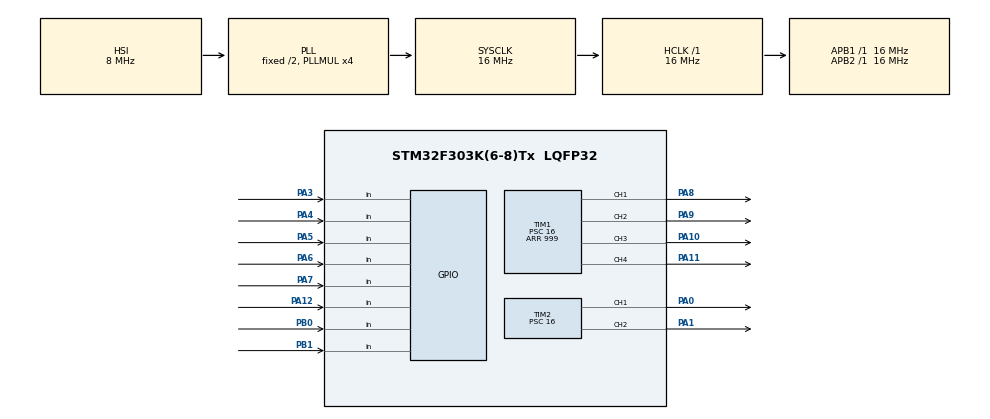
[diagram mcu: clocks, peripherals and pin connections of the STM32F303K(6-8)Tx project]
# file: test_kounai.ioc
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Mcu.Family=STM32F3
Mcu.Name=STM32F303K(6-8)Tx
Mcu.Package=LQFP32
NVIC.PriorityGroup=NVIC_PRIORITYGROUP_4
PA0.Signal=S_TIM2_CH1_ETR
PA1.Signal=S_TIM2_CH2
PA10.Signal=S_TIM1_CH3
PA11.Signal=S_TIM1_CH4
PA12.Signal=GPIO_Input
PA13.Mode=Serial_Wire
PA13.Signal=SYS_JTMS-SWDIO
PA14.Mode=Serial_Wire
PA14.Signal=SYS_JTCK-SWCLK
PA3.Signal=GPIO_Input
PA4.Signal=GPIO_Input
PA5.Signal=GPIO_Input
PA6.Signal=GPIO_Input
PA7.Signal=GPIO_Input
PA8.Signal=S_TIM1_CH1
PA9.Signal=S_TIM1_CH2
PB0.Signal=GPIO_Input
PB1.Signal=GPIO_Input
PF0\ /\ OSC_IN.Mode=HSE-External-Clock-Source
PF0\ /\ OSC_IN.Signal=RCC_OSC_IN
ProjectManager.HeapSize=0x200
ProjectManager.StackSize=0x400
ProjectManager.TargetToolchain=STM32CubeIDE
RCC.AHBFreq_Value=16000000
RCC.APB1Freq_Value=16000000
RCC.APB1TimFreq_Value=16000000
RCC.APB2Freq_Value=16000000
RCC.APB2TimFreq_Value=16000000
RCC.CortexFreq_Value=16000000
RCC.HCLKFreq_Value=16000000
RCC.HSE_VALUE=8000000
RCC.HSI_VALUE=8000000
RCC.PLLMUL=RCC_PLL_MUL4
RCC.SYSCLKFreq_VALUE=16000000
RCC.SYSCLKSourceVirtual=RCC_SYSCLKSOURCE_PLLCLK
SH.S_TIM1_CH1.0=TIM1_CH1,PWM Generation1 CH1
SH.S_TIM1_CH2.0=TIM1_CH2,PWM Generation2 CH2
SH.S_TIM1_CH3.0=TIM1_CH3,PWM Generation3 CH3
SH.S_TIM1_CH4.0=TIM1_CH4,PWM Generation4 CH4
SH.S_TIM2_CH1_ETR.0=TIM2_CH1,PWM Generation1 CH1
SH.S_TIM2_CH2.0=TIM2_CH2,PWM Generation2 CH2
TIM1.Channel-PWM\ Generation1\ CH1=TIM_CHANNEL_1
TIM1.Channel-PWM\ Generation2\ CH2=TIM_CHANNEL_2
TIM1.Channel-PWM\ Generation3\ CH3=TIM_CHANNEL_3
TIM1.Channel-PWM\ Generation4\ CH4=TIM_CHANNEL_4
TIM1.Period=999
TIM1.Prescaler=16
TIM2.Channel-PWM\ Generation1\ CH1=TIM_CHANNEL_1
TIM2.Channel-PWM\ Generation2\ CH2=TIM_CHANNEL_2
TIM2.Period=999
TIM2.Prescaler=16
VP_TIM1_VS_ClockSourceINT.Mode=Internal
VP_TIM1_VS_NoETR.Mode=ETR_as_clearing_source_through_ADC_remap_TIM1
VP_TIM2_VS_ClockSourceINT.Mode=Internal
board=custom

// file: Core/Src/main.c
/* USER CODE BEGIN Header */
/**
  ******************************************************************************
  * @file           : main.c
  * @brief          : Main program body
  ******************************************************************************
  * @attention
  *
  * <h2><center>&copy; Copyright (c) 2020 STMicroelectronics.
  * All rights reserved.</center></h2>
  *
  * This software component is licensed by ST under BSD 3-Clause license,
  * the "License"; You may not use this file except in compliance with the
  * License. You may obtain a copy of the License at:
  *                        opensource.org/licenses/BSD-3-Clause
  *
  ******************************************************************************
  */
/* USER CODE END Header */

#include "main.h"
#include "stdio.h"

TIM_HandleTypeDef htim1;
TIM_HandleTypeDef htim2;
TIM_MasterConfigTypeDef sMasterConfig = {0};
TIM_OC_InitTypeDef sConfigOC = {0};

void SystemClock_Config(void);
static void MX_GPIO_Init(void);
static void MX_TIM1_Init(void);
static void MX_TIM2_Init(void);

/* USER CODE BEGIN 0 */
int SW1()
{
return 	HAL_GPIO_ReadPin(GPIOA,GPIO_PIN_6);
}

int SW2()
{
return 	HAL_GPIO_ReadPin(GPIOA,GPIO_PIN_5);
}

int SW3()
{
return 	HAL_GPIO_ReadPin(GPIOA,GPIO_PIN_3);
}

int SW4()
{
return 	HAL_GPIO_ReadPin(GPIOA,GPIO_PIN_4);
}

int SW5()
{
return 	HAL_GPIO_ReadPin(GPIOA,GPIO_PIN_7);
}

int SW6()
{
return 	HAL_GPIO_ReadPin(GPIOB,GPIO_PIN_0);
}

int SW7()
{
return 	HAL_GPIO_ReadPin(GPIOA,GPIO_PIN_12);
}

int SW8()
{
return 	HAL_GPIO_ReadPin(GPIOB,GPIO_PIN_1);
}

void motor1(int dire,int duty)//右モーター
{
	if(dire==0){
		sConfigOC.Pulse = duty;
		 if (HAL_TIM_PWM_ConfigChannel(&htim1, &sConfigOC, TIM_CHANNEL_1) != HAL_OK)
		 {
		 Error_Handler();
		 }
		if (HAL_TIM_PWM_Start(&htim1, TIM_CHANNEL_1) != HAL_OK)
				   					{
				   						Error_Handler();
				   					 }

			}

	else if (dire==1){
		sConfigOC.Pulse = duty;
		 if (HAL_TIM_PWM_ConfigChannel(&htim1, &sConfigOC, TIM_CHANNEL_2) != HAL_OK)
		 {
		 Error_Handler();
		 }
			   		if (HAL_TIM_PWM_Start(&htim1, TIM_CHANNEL_2) != HAL_OK)
			   			   			{
			   							Error_Handler();
			   			   			 }
					}
	else if(dire==2)
			{
		sConfigOC.Pulse = 0;
		 if (HAL_TIM_PWM_ConfigChannel(&htim1, &sConfigOC, TIM_CHANNEL_1) != HAL_OK)
		 {
		 Error_Handler();
		 }
		 if (HAL_TIM_PWM_ConfigChannel(&htim1, &sConfigOC, TIM_CHANNEL_1) != HAL_OK)
		 {
		 Error_Handler();
		 }
			}

}
void motor2(int dire,int duty)//右モーター
{
	if(dire==0){
		sConfigOC.Pulse = duty;
		 if (HAL_TIM_PWM_ConfigChannel(&htim2, &sConfigOC, TIM_CHANNEL_1) != HAL_OK)
		 {
		 Error_Handler();
		 }
		if (HAL_TIM_PWM_Start(&htim1, TIM_CHANNEL_1) != HAL_OK)
				   					{
				   						Error_Handler();
				   					 }

			}

	else if (dire==1){
		sConfigOC.Pulse = duty;
		 if (HAL_TIM_PWM_ConfigChannel(&htim2, &sConfigOC, TIM_CHANNEL_2) != HAL_OK)
		 {
		 Error_Handler();
		 }
			   		if (HAL_TIM_PWM_Start(&htim1, TIM_CHANNEL_2) != HAL_OK)
			   			   			{
			   							Error_Handler();
			   			   			 }
					}
	else if(dire==2)
			{
		sConfigOC.Pulse = 0;
		 if (HAL_TIM_PWM_ConfigChannel(&htim2, &sConfigOC, TIM_CHANNEL_1) != HAL_OK)
		 {
		 Error_Handler();
		 }
		 if (HAL_TIM_PWM_ConfigChannel(&htim2, &sConfigOC, TIM_CHANNEL_1) != HAL_OK)
		 {
		 Error_Handler();
		 }
			}

}
void motor3(int dire,int duty)//右モーター
{
	sConfigOC.Pulse = duty;
	if(dire==0){
		 if (HAL_TIM_PWM_ConfigChannel(&htim1, &sConfigOC, TIM_CHANNEL_3) != HAL_OK)
		 {
		 Error_Handler();
		 }
		if (HAL_TIM_PWM_Start(&htim1, TIM_CHANNEL_3) != HAL_OK)
				   					{
				   						Error_Handler();
				   					 }

			}

	else if (dire==1){
		sConfigOC.Pulse = duty;
		 if (HAL_TIM_PWM_ConfigChannel(&htim1, &sConfigOC, TIM_CHANNEL_4) != HAL_OK)
		 {
		 Error_Handler();
		 }
			   		if (HAL_TIM_PWM_Start(&htim1, TIM_CHANNEL_4) != HAL_OK)
			   			   			{
			   							Error_Handler();
			   			   			 }
					}
	else if(dire==2)
			{
		sConfigOC.Pulse = 0;
		 if (HAL_TIM_PWM_ConfigChannel(&htim1, &sConfigOC, TIM_CHANNEL_3) != HAL_OK)
		 {
		 Error_Handler();
		 }
		 if (HAL_TIM_PWM_ConfigChannel(&htim1, &sConfigOC, TIM_CHANNEL_4) != HAL_OK)
		 {
		 Error_Handler();
		 }
			}

}
/* USER CODE END 0 */

int main(void)
{

  /* MCU Configuration--------------------------------------------------------*/

  /* Reset of all peripherals, Initializes the Flash interface and the Systick. */
  HAL_Init();

  /* Configure the system clock */
  SystemClock_Config();

  /* Initialize all configured peripherals */
  MX_GPIO_Init();
  MX_TIM1_Init();
  MX_TIM2_Init();
int A=0;
  /* Infinite loop */
  /* USER CODE BEGIN WHILE */
  while (1)
  {
	/*  sConfigOC.Pulse = 100;
	 if (HAL_TIM_PWM_ConfigChannel(&htim2, &sConfigOC, TIM_CHANNEL_1) != HAL_OK)
	 {
	 Error_Handler();
	 }
	 if (HAL_TIM_PWM_Start(&htim2, TIM_CHANNEL_1) != HAL_OK)
	 {
	  Error_Handler();
	 }
	 HAL_Delay(1000);

	sConfigOC.Pulse = 999;
	if (HAL_TIM_PWM_ConfigChannel(&htim2, &sConfigOC, TIM_CHANNEL_1) != HAL_OK)
	 {
		Error_Handler();
	}
	if (HAL_TIM_PWM_Start(&htim2, TIM_CHANNEL_1) != HAL_OK)
	{
	 Error_Handler();
	}
	 HAL_Delay(1000);
*/
	 //motor1の挙動 ???��?��??��?��?右

	  A=SW1();

	  switch(A){

	  case 1:
 		  printf("sw1_ok \n\r");
 		  motor1(1,999);
	 	  motor2(1,999);
	 	  motor3(1,999);
	 	  A=3;
	 	  break;

	  case 0:
		  printf("no_motor \n\r");
	 	  motor1(2,0);
	 	  motor2(2,0);
	 	  motor3(2,0);
	 	  A=3;
		  break;
	  }

	 	  	 /* else
	 	  	  {
	 	  		  motor1(2,0);
	 	  	  }
	 	  	  */
/*
	 	  	//motor3挙動 左
	 	  	   if(SW8()==0)
	 	  	  {

	 	  		  motor3(1,300);
	 	  	  }

	 	  	   else if(SW6()==0)
	 	  	 	  {
	 	  	 		  motor3(0,300);
	 	  	 	  }
	 	  	   else{
	 	  		   motor3(2,0);
	 	  	   }

	 	  	//motor2挙動 a-m
	 	  	   if(SW1()==0)
	 	  	  {
	 	  		motor2(1,150);
	 	  	  }

	 	  	   else if(SW7()==0)
	 	  	  {
	 	  		  motor2(0,150);
	 	  	  }
	 	  	   else{
	 	  		   motor2(2,0);
	 	  	   }
*/
	 	  HAL_Delay(10);

	 	    }

    /* USER CODE END WHILE */

}

void SystemClock_Config(void)
{
  RCC_OscInitTypeDef RCC_OscInitStruct = {0};
  RCC_ClkInitTypeDef RCC_ClkInitStruct = {0};
  RCC_PeriphCLKInitTypeDef PeriphClkInit = {0};

  /** Initializes the CPU, AHB and APB busses clocks
  */
  RCC_OscInitStruct.OscillatorType = RCC_OSCILLATORTYPE_HSI;
  RCC_OscInitStruct.HSIState = RCC_HSI_ON;
  RCC_OscInitStruct.HSICalibrationValue = RCC_HSICALIBRATION_DEFAULT;
  RCC_OscInitStruct.PLL.PLLState = RCC_PLL_ON;
  RCC_OscInitStruct.PLL.PLLSource = RCC_PLLSOURCE_HSI;
  RCC_OscInitStruct.PLL.PLLMUL = RCC_PLL_MUL4;
  if (HAL_RCC_OscConfig(&RCC_OscInitStruct) != HAL_OK)
  {
    Error_Handler();
  }
  /** Initializes the CPU, AHB and APB busses clocks
  */
  RCC_ClkInitStruct.ClockType = RCC_CLOCKTYPE_HCLK|RCC_CLOCKTYPE_SYSCLK
                              |RCC_CLOCKTYPE_PCLK1|RCC_CLOCKTYPE_PCLK2;
  RCC_ClkInitStruct.SYSCLKSource = RCC_SYSCLKSOURCE_PLLCLK;
  RCC_ClkInitStruct.AHBCLKDivider = RCC_SYSCLK_DIV1;
  RCC_ClkInitStruct.APB1CLKDivider = RCC_HCLK_DIV1;
  RCC_ClkInitStruct.APB2CLKDivider = RCC_HCLK_DIV1;

  if (HAL_RCC_ClockConfig(&RCC_ClkInitStruct, FLASH_LATENCY_0) != HAL_OK)
  {
    Error_Handler();
  }
  PeriphClkInit.PeriphClockSelection = RCC_PERIPHCLK_TIM1;
  PeriphClkInit.Tim1ClockSelection = RCC_TIM1CLK_HCLK;
  if (HAL_RCCEx_PeriphCLKConfig(&PeriphClkInit) != HAL_OK)
  {
    Error_Handler();
  }
}

static void MX_TIM1_Init(void)
{

  TIM_ClockConfigTypeDef sClockSourceConfig = {0};

  TIM_BreakDeadTimeConfigTypeDef sBreakDeadTimeConfig = {0};

  htim1.Instance = TIM1;
  htim1.Init.Prescaler = 16;
  htim1.Init.CounterMode = TIM_COUNTERMODE_UP;
  htim1.Init.Period = 999;
  htim1.Init.ClockDivision = TIM_CLOCKDIVISION_DIV1;
  htim1.Init.RepetitionCounter = 0;
  htim1.Init.AutoReloadPreload = TIM_AUTORELOAD_PRELOAD_DISABLE;
  if (HAL_TIM_Base_Init(&htim1) != HAL_OK)
  {
    Error_Handler();
  }
  sClockSourceConfig.ClockSource = TIM_CLOCKSOURCE_INTERNAL;
  if (HAL_TIM_ConfigClockSource(&htim1, &sClockSourceConfig) != HAL_OK)
  {
    Error_Handler();
  }
  if (HAL_TIM_PWM_Init(&htim1) != HAL_OK)
  {
    Error_Handler();
  }
  sMasterConfig.MasterOutputTrigger = TIM_TRGO_RESET;
  sMasterConfig.MasterOutputTrigger2 = TIM_TRGO2_RESET;
  sMasterConfig.MasterSlaveMode = TIM_MASTERSLAVEMODE_DISABLE;
  if (HAL_TIMEx_MasterConfigSynchronization(&htim1, &sMasterConfig) != HAL_OK)
  {
    Error_Handler();
  }
  sConfigOC.OCMode = TIM_OCMODE_PWM1;
  sConfigOC.Pulse = 0;
  sConfigOC.OCPolarity = TIM_OCPOLARITY_HIGH;
  sConfigOC.OCNPolarity = TIM_OCNPOLARITY_HIGH;
  sConfigOC.OCFastMode = TIM_OCFAST_DISABLE;
  sConfigOC.OCIdleState = TIM_OCIDLESTATE_RESET;
  sConfigOC.OCNIdleState = TIM_OCNIDLESTATE_RESET;
  if (HAL_TIM_PWM_ConfigChannel(&htim1, &sConfigOC, TIM_CHANNEL_1) != HAL_OK)
  {
    Error_Handler();
  }
  if (HAL_TIM_PWM_ConfigChannel(&htim1, &sConfigOC, TIM_CHANNEL_2) != HAL_OK)
  {
    Error_Handler();
  }
  if (HAL_TIM_PWM_ConfigChannel(&htim1, &sConfigOC, TIM_CHANNEL_3) != HAL_OK)
  {
    Error_Handler();
  }
  if (HAL_TIM_PWM_ConfigChannel(&htim1, &sConfigOC, TIM_CHANNEL_4) != HAL_OK)
  {
    Error_Handler();
  }
  if (HAL_TIMEx_RemapConfig(&htim1, TIM_TIM1_ADC1_NONE) != HAL_OK)
  {
    Error_Handler();
  }
  sBreakDeadTimeConfig.OffStateRunMode = TIM_OSSR_DISABLE;
  sBreakDeadTimeConfig.OffStateIDLEMode = TIM_OSSI_DISABLE;
  sBreakDeadTimeConfig.LockLevel = TIM_LOCKLEVEL_OFF;
  sBreakDeadTimeConfig.DeadTime = 0;
  sBreakDeadTimeConfig.BreakState = TIM_BREAK_DISABLE;
  sBreakDeadTimeConfig.BreakPolarity = TIM_BREAKPOLARITY_HIGH;
  sBreakDeadTimeConfig.BreakFilter = 0;
  sBreakDeadTimeConfig.Break2State = TIM_BREAK2_DISABLE;
  sBreakDeadTimeConfig.Break2Polarity = TIM_BREAK2POLARITY_HIGH;
  sBreakDeadTimeConfig.Break2Filter = 0;
  sBreakDeadTimeConfig.AutomaticOutput = TIM_AUTOMATICOUTPUT_DISABLE;
  if (HAL_TIMEx_ConfigBreakDeadTime(&htim1, &sBreakDeadTimeConfig) != HAL_OK)
  {
    Error_Handler();
  }
  HAL_TIM_MspPostInit(&htim1);

}

static void MX_TIM2_Init(void)
{

  TIM_ClockConfigTypeDef sClockSourceConfig = {0};
  TIM_MasterConfigTypeDef sMasterConfig = {0};
  TIM_OC_InitTypeDef sConfigOC = {0};

  htim2.Instance = TIM2;
  htim2.Init.Prescaler = 16;
  htim2.Init.CounterMode = TIM_COUNTERMODE_UP;
  htim2.Init.Period = 999;
  htim2.Init.ClockDivision = TIM_CLOCKDIVISION_DIV1;
  htim2.Init.AutoReloadPreload = TIM_AUTORELOAD_PRELOAD_DISABLE;
  if (HAL_TIM_Base_Init(&htim2) != HAL_OK)
  {
    Error_Handler();
  }
  sClockSourceConfig.ClockSource = TIM_CLOCKSOURCE_INTERNAL;
  if (HAL_TIM_ConfigClockSource(&htim2, &sClockSourceConfig) != HAL_OK)
  {
    Error_Handler();
  }
  if (HAL_TIM_PWM_Init(&htim2) != HAL_OK)
  {
    Error_Handler();
  }
  sMasterConfig.MasterOutputTrigger = TIM_TRGO_RESET;
  sMasterConfig.MasterSlaveMode = TIM_MASTERSLAVEMODE_DISABLE;
  if (HAL_TIMEx_MasterConfigSynchronization(&htim2, &sMasterConfig) != HAL_OK)
  {
    Error_Handler();
  }
  sConfigOC.OCMode = TIM_OCMODE_PWM1;
  sConfigOC.Pulse = 0;
  sConfigOC.OCPolarity = TIM_OCPOLARITY_HIGH;
  sConfigOC.OCFastMode = TIM_OCFAST_DISABLE;
  if (HAL_TIM_PWM_ConfigChannel(&htim2, &sConfigOC, TIM_CHANNEL_1) != HAL_OK)
  {
    Error_Handler();
  }
  if (HAL_TIM_PWM_ConfigChannel(&htim2, &sConfigOC, TIM_CHANNEL_2) != HAL_OK)
  {
    Error_Handler();
  }
  HAL_TIM_MspPostInit(&htim2);

}

static void MX_GPIO_Init(void)
{
  GPIO_InitTypeDef GPIO_InitStruct = {0};

  /* GPIO Ports Clock Enable */
  __HAL_RCC_GPIOF_CLK_ENABLE();
  __HAL_RCC_GPIOA_CLK_ENABLE();
  __HAL_RCC_GPIOB_CLK_ENABLE();

  /*Configure GPIO pins : PA3 PA4 PA5 PA6
                           PA7 PA12 */
  GPIO_InitStruct.Pin = GPIO_PIN_3|GPIO_PIN_4|GPIO_PIN_5|GPIO_PIN_6
                          |GPIO_PIN_7|GPIO_PIN_12;
  GPIO_InitStruct.Mode = GPIO_MODE_INPUT;
  GPIO_InitStruct.Pull = GPIO_NOPULL;
  HAL_GPIO_Init(GPIOA, &GPIO_InitStruct);

  /*Configure GPIO pins : PB0 PB1 */
  GPIO_InitStruct.Pin = GPIO_PIN_0|GPIO_PIN_1;
  GPIO_InitStruct.Mode = GPIO_MODE_INPUT;
  GPIO_InitStruct.Pull = GPIO_NOPULL;
  HAL_GPIO_Init(GPIOB, &GPIO_InitStruct);

}

void Error_Handler(void)
{
}

/************************ (C) COPYRIGHT STMicroelectronics *****END OF FILE****/
